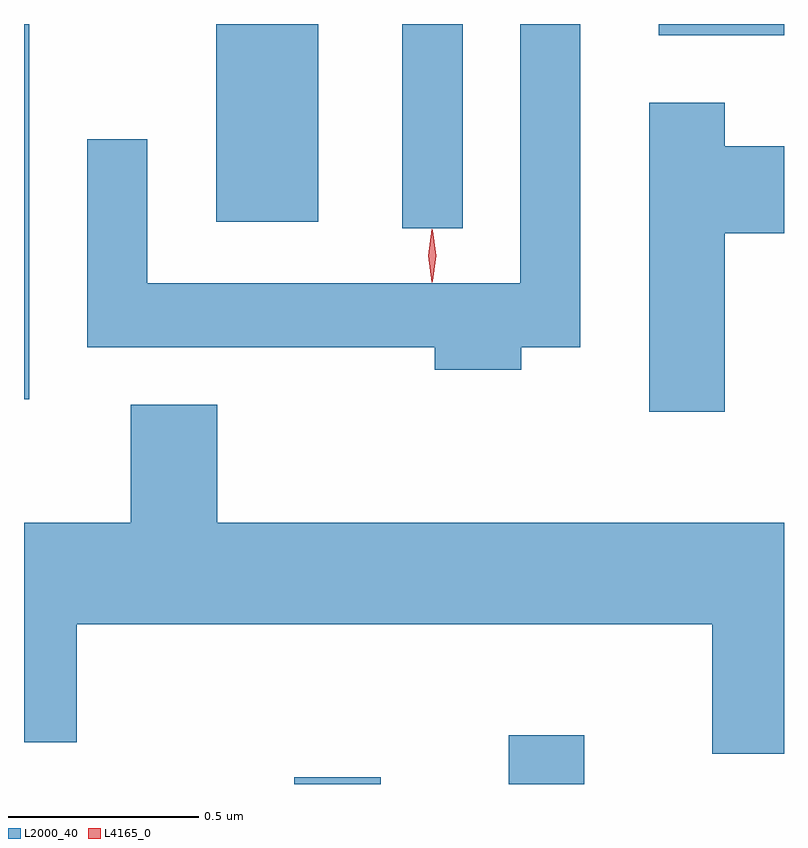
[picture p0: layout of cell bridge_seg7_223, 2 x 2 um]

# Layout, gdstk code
import gdstk
lib = gdstk.Library(unit=1e-6, precision=1e-09)
def R(c, l, rs):  # rectangles x0, y0, x1, y1
    for r in rs: c.add(gdstk.rectangle(r[:2], r[2:], *l))
def P(c, l, *ps):  # polygons
    for p in ps: c.add(gdstk.Polygon(p, *l))
L2000_40 = (2000, 40)
L4165_0 = (4165, 0)

bridge_seg7_223 = lib.new_cell('bridge_seg7_223')
R(bridge_seg7_223, L2000_40, [(1499.741,1698.356,1499.969,1698.374), (1500.306,1698.356,1500.504,1698.484), (1499.03,1699.368,1499.044,1700.356), (1500.026,1699.818,1500.184,1700.356), (1499.536,1699.836,1499.804,1700.356), (1500.701,1700.326,1501.03,1700.356)])
P(bridge_seg7_223, L2000_40, [(1500.339,1699.506),(1500.494,1699.506),(1500.494,1700.356),(1500.336,1700.356),(1500.336,1699.674),(1499.354,1699.674),(1499.354,1700.053),(1499.196,1700.053),(1499.196,1699.506),(1500.111,1699.506),(1500.111,1699.446),(1500.339,1699.446)],
  [(1500.874,1699.806),(1501.03,1699.806),(1501.03,1700.034),(1500.874,1700.034),(1500.874,1700.149),(1500.676,1700.149),(1500.676,1699.336),(1500.874,1699.336)],
  [(1501.03,1699.044),(1499.539,1699.044),(1499.539,1699.354),(1499.311,1699.354),(1499.311,1699.044),(1499.03,1699.044),(1499.03,1698.466),(1499.169,1698.466),(1499.169,1698.776),(1500.841,1698.776),(1500.841,1698.436),(1501.03,1698.436)])
P(bridge_seg7_223, L4165_0, [(1500.103,1699.677),(1500.094,1699.746),(1500.103,1699.816),(1500.104,1699.816),(1500.104,1699.816),(1500.114,1699.746),(1500.104,1699.677),(1500.104,1699.677)],
  [(1500.105,1699.679),(1500.104,1699.68),(1500.095,1699.746),(1500.104,1699.812),(1500.105,1699.813),(1500.105,1699.812),(1500.115,1699.746),(1500.105,1699.68)])

lib.write_gds('bridge_seg7_223.gds')
